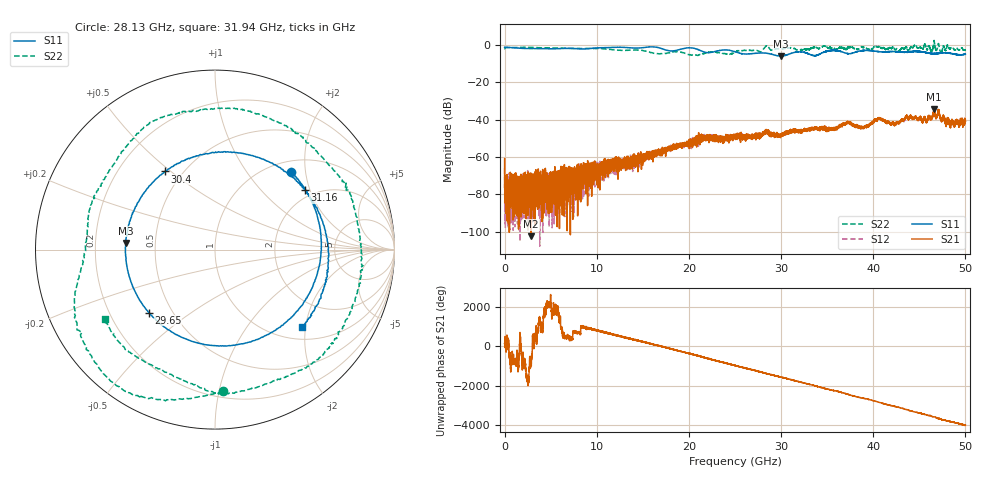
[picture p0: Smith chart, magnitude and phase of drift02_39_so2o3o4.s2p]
!Created with skrf (http://scikit-rf.org).
# Hz S RI R 50.0
!freq ReS11 ImS11 ReS21 ImS21 ReS12 ImS12 ReS22 ImS22
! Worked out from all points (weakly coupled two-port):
!   10001 points, 300 kHz to 50 GHz, reference 50 ohm
!   highest |S21| = -34.44 dB at 46.59 GHz (marker M1); lowest = -102.4 dB at 2.865 GHz (marker M2)
!   lowest |S11| = -6.1 dB at 30 GHz (marker M3), VSWR 2.98, Z = 16.8 + j1.64 ohm
!   |S11| at or under -10 dB: nowhere
!   |S22| runs from -5.7 to 2.4 dB; largest |S21 - S12| = 0.0034
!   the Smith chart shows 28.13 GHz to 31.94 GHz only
!   S11 on the Smith chart (normalised r, x): 28.13 GHz: 1.23, +1.67; 29.65 GHz: 0.37, -0.35; 30.4 GHz: 0.40, +0.48; 31.16 GHz: 1.77, +1.84; 31.94 GHz: 1.29, -1.91
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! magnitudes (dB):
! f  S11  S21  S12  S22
! 300 kHz  -1.3  -60.8  -65.9  -2.0
! 280.3 MHz  -1.3  -75.6  -74.6  -1.4
! 2.865 GHz  -2.0  -102.4  -81.2  -1.4
! 4.965 GHz  -2.1  -79.5  -70.1  -1.6
! 8.335 GHz  -2.2  -71.9  -72.6  -1.9
! 16.67 GHz  -1.4  -57.3  -56.6  -4.7
! 21.46 GHz  -3.5  -48.7  -48.2  -4.8
! 25 GHz  -3.7  -49.4  -49.0  -3.9
! 28.13 GHz  -4.3  -47.6  -47.1  -2.1
! 29.65 GHz  -5.9  -48.0  -48.6  -2.2
! 30 GHz  -6.1  -47.6  -48.5  -2.0
! 30.4 GHz  -5.7  -47.5  -47.0  -1.9
! 31.16 GHz  -4.4  -45.9  -46.3  -1.6
! 31.94 GHz  -3.8  -45.3  -46.3  -2.8
! 33.34 GHz  -5.5  -45.1  -44.3  -1.6
! 37.28 GHz  -4.7  -41.7  -41.3  -1.4
! 38.85 GHz  -3.1  -43.9  -44.2  -1.3
! 40.69 GHz  -3.7  -39.0  -39.0  -0.9
! 41.67 GHz  -3.6  -41.8  -40.8  -1.9
! 46.59 GHz  -4.8  -34.4  -34.7  1.9
! 48.11 GHz  -4.4  -39.0  -39.9  -0.6
! 50 GHz  -4.9  -40.9  -39.8  -2.7
